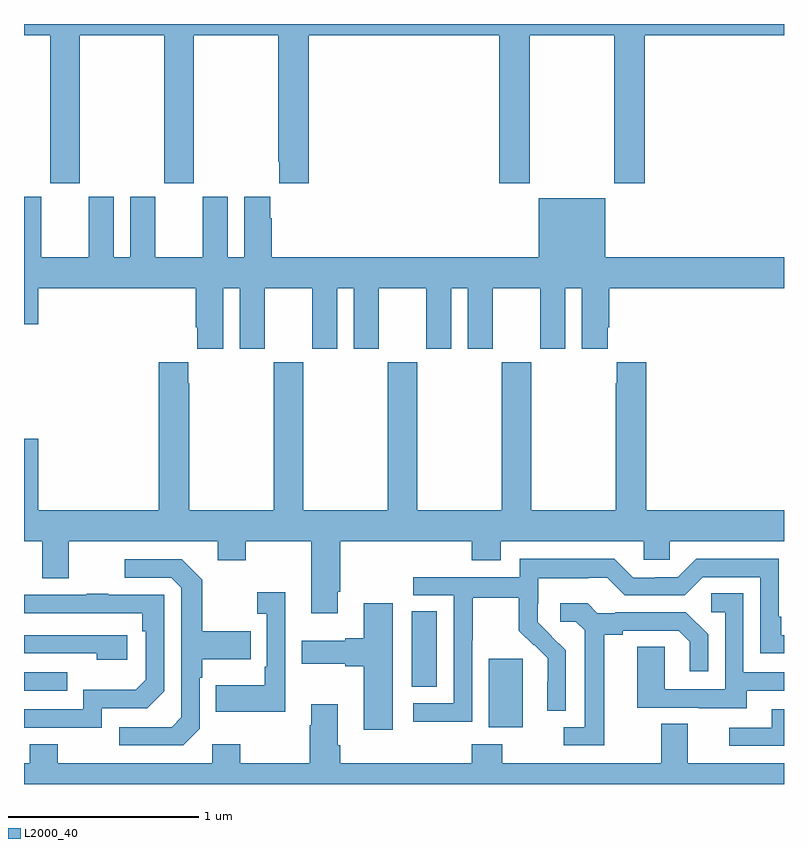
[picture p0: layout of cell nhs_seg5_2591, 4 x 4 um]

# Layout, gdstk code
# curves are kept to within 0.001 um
import gdstk
lib = gdstk.Library(unit=1e-6, precision=1e-09)
def R(c, l, rs):  # rectangles x0, y0, x1, y1
    for r in rs: c.add(gdstk.rectangle(r[:2], r[2:], *l))
def P(c, l, *ps):  # polygons
    for p in ps: c.add(gdstk.Polygon(p, *l))
L2000_40 = (2000, 40)

nhs_seg5_2591 = lib.new_cell('nhs_seg5_2591')
R(nhs_seg5_2591, L2000_40, [(263.447,873.098,263.626,873.459), (261,873.291,261.227,873.387), (263.042,873.31,263.173,873.707)])
P(nhs_seg5_2591, L2000_40, [(261.294,876.74),(261.739,876.74),(261.739,875.961),(261.894,875.961),(261.894,876.74),(262.339,876.74),(262.339,876.073),(262.343,876.073),(262.343,875.961),(262.499,875.961),(262.499,876.74),(263.501,876.74),(263.501,875.961),(263.661,875.961),(263.661,876.74),(264.106,876.74),(264.106,875.961),(264.266,875.961),(264.266,876.74),(265,876.74),(265,876.799),(261,876.799),(261,876.74),(261.139,876.74),(261.139,875.961),(261.294,875.961)],
  [(262.048,875.408),(262.136,875.408),(262.136,875.091),(262.267,875.091),(262.267,875.408),(262.517,875.408),(262.517,875.091),(262.648,875.091),(262.648,875.408),(262.736,875.408),(262.736,875.091),(262.867,875.091),(262.867,875.408),(263.117,875.408),(263.117,875.091),(263.248,875.091),(263.248,875.408),(263.336,875.408),(263.336,875.091),(263.467,875.091),(263.467,875.408),(263.717,875.408),(263.717,875.091),(263.848,875.091),(263.848,875.408),(263.936,875.408),(263.936,875.091),(264.073,875.091),(264.073,875.203),(264.08,875.203),(264.08,875.408),(265,875.408),(265,875.572),(264.058,875.572),(264.058,875.881),(263.708,875.881),(263.708,875.572),(262.304,875.572),(262.304,875.777),(262.297,875.777),(262.297,875.89),(262.16,875.89),(262.16,875.572),(262.072,875.572),(262.072,875.89),(261.941,875.89),(261.941,875.572),(261.691,875.572),(261.691,875.89),(261.56,875.89),(261.56,875.572),(261.472,875.572),(261.472,875.89),(261.341,875.89),(261.341,875.572),(261.091,875.572),(261.091,875.89),(261,875.89),(261,875.22),(261.076,875.22),(261.076,875.408),(261.904,875.408),(261.904,875.203),(261.911,875.203),(261.911,875.091),(262.048,875.091)],
  [(261.865,874.907),(261.865,875.02),(261.71,875.02),(261.71,874.24),(261.076,874.24),(261.076,874.615),(261,874.615),(261,874.076),(261.095,874.076),(261.095,873.882),(261.235,873.882),(261.235,874.076),(262.019,874.076),(262.019,873.977),(262.167,873.977),(262.167,874.076),(262.511,874.076),(262.511,873.699),(262.651,873.699),(262.651,873.811),(262.664,873.811),(262.664,874.076),(263.357,874.076),(263.357,873.977),(263.509,873.977),(263.509,874.076),(264.261,874.076),(264.261,873.978),(264.399,873.978),(264.399,874.076),(265,874.076),(265,874.24),(264.275,874.24),(264.275,875.02),(264.119,875.02),(264.119,874.907),(264.115,874.907),(264.115,874.24),(263.67,874.24),(263.67,875.02),(263.515,875.02),(263.515,874.24),(263.07,874.24),(263.07,875.02),(262.915,875.02),(262.915,874.24),(262.47,874.24),(262.47,875.02),(262.315,875.02),(262.315,874.24),(261.87,874.24),(261.87,874.907)],
  [(263.358,873.556),(263.361,873.556),(263.361,873.78),(263.605,873.78),(263.605,873.605),(263.682,873.528),(263.685,873.531),(263.756,873.461),(263.756,873.338),(263.754,873.338),(263.754,873.184),(263.85,873.184),(263.85,873.502),(263.704,873.65),(263.704,873.747),(263.706,873.747),(263.706,873.881),(263.969,873.881),(263.969,873.885),(264.069,873.885),(264.162,873.792),(264.477,873.792),(264.573,873.888),(264.876,873.888),(264.876,873.486),(265,873.486),(265,873.582),(264.985,873.582),(264.985,873.679),(264.972,873.679),(264.972,873.984),(264.537,873.984),(264.441,873.888),(264.323,873.888),(264.323,873.885),(264.207,873.885),(264.107,873.985),(263.61,873.985),(263.61,873.888),(263.049,873.888),(263.049,873.792),(263.262,873.792),(263.262,873.225),(263.049,873.225),(263.049,873.127),(263.358,873.127)],
  [(261.924,873.09),(261.924,873.359),(261.937,873.359),(261.937,873.455),(262.193,873.455),(262.193,873.603),(261.937,873.603),(261.937,873.875),(261.831,873.981),(261.531,873.981),(261.531,873.885),(261.774,873.885),(261.828,873.831),(261.828,873.15),(261.777,873.099),(261.501,873.099),(261.501,873.003),(261.837,873.003)],
  [(262.374,873.808),(262.227,873.808),(262.227,873.695),(262.278,873.695),(262.278,873.415),(262.266,873.415),(262.266,873.319),(262.009,873.319),(262.009,873.179),(262.374,873.179)],
  [(264.805,873.291),(265,873.291),(265,873.387),(264.786,873.387),(264.786,873.803),(264.618,873.803),(264.618,873.702),(264.69,873.702),(264.69,873.297),(264.372,873.297),(264.372,873.521),(264.227,873.521),(264.227,873.201),(264.551,873.201),(264.551,873.197),(264.805,873.197)],
  [(261.408,873.198),(261.648,873.198),(261.738,873.288),(261.738,873.795),(261.443,873.795),(261.443,873.8),(261.331,873.8),(261.331,873.795),(261,873.795),(261,873.699),(261.622,873.699),(261.622,873.602),(261.642,873.602),(261.642,873.348),(261.589,873.295),(261.312,873.295),(261.312,873.192),(261,873.192),(261,873.096),(261.408,873.096)],
  [(262.942,873.751),(262.787,873.751),(262.787,873.566),(262.691,873.566),(262.691,873.553),(262.461,873.553),(262.461,873.431),(262.691,873.431),(262.691,873.419),(262.787,873.419),(262.787,873.084),(262.942,873.084)],
  [(264.055,873.584),(264.151,873.584),(264.151,873.606),(264.446,873.606),(264.503,873.549),(264.503,873.393),(264.6,873.393),(264.6,873.586),(264.484,873.702),(264.112,873.702),(264.112,873.699),(264.018,873.699),(263.966,873.751),(263.823,873.751),(263.823,873.654),(263.904,873.654),(263.951,873.607),(263.951,873.099),(263.841,873.099),(263.841,873.003),(264.055,873.003)],
  [(261.544,873.582),(261,873.582),(261,873.486),(261.383,873.486),(261.383,873.452),(261.544,873.452)],
  [(265,872.908),(264.493,872.908),(264.493,873.116),(264.353,873.116),(264.353,872.908),(263.517,872.908),(263.517,873.007),(263.357,873.007),(263.357,872.908),(262.664,872.908),(262.664,873.004),(262.651,873.004),(262.651,873.22),(262.511,873.22),(262.511,873.107),(262.504,873.107),(262.504,872.908),(262.137,872.908),(262.137,873.007),(261.99,873.007),(261.99,872.908),(261.177,872.908),(261.177,873.007),(261.029,873.007),(261.029,872.908),(261,872.908),(261,872.799),(265,872.799)],
  [(265,873.192),(264.935,873.192),(264.935,873.096),(264.711,873.096),(264.711,873),(265,873)])

lib.write_gds('nhs_seg5_2591.gds')
